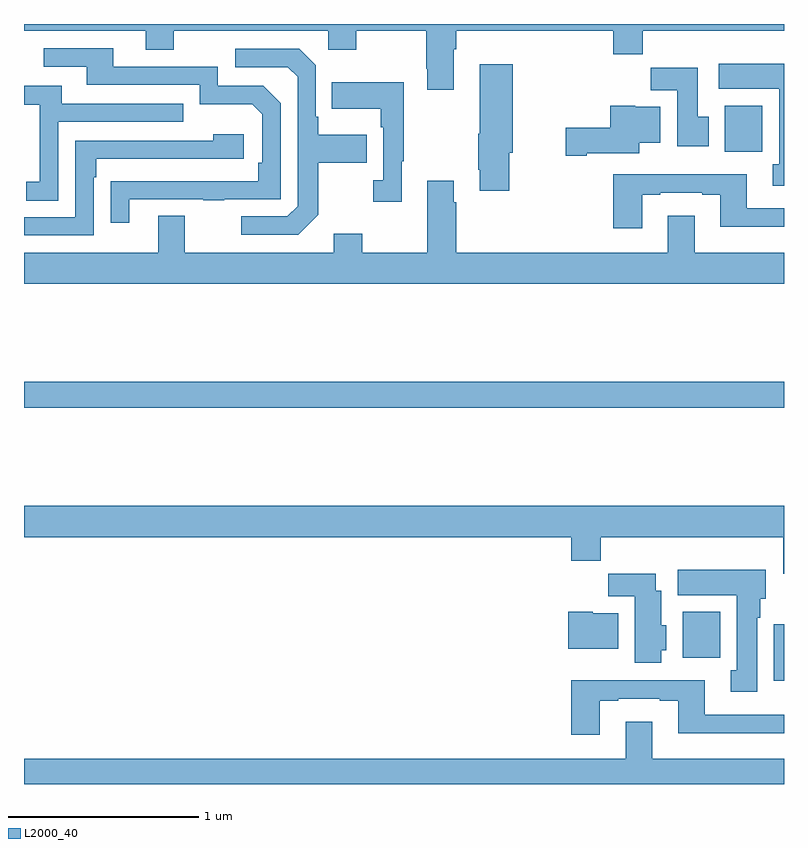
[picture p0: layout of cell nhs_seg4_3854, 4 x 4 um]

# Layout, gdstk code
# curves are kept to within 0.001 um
import gdstk
lib = gdstk.Library(unit=1e-6, precision=1e-09)
def R(c, l, rs):  # rectangles x0, y0, x1, y1
    for r in rs: c.add(gdstk.rectangle(r[:2], r[2:], *l))
def P(c, l, *ps):  # polygons
    for p in ps: c.add(gdstk.Polygon(p, *l))
L2000_40 = (2000, 40)

nhs_seg4_3854 = lib.new_cell('nhs_seg4_3854')
R(nhs_seg4_3854, L2000_40, [(318.947,749.444,319,749.74), (318.467,749.564,318.664,749.806), (315,750.88,319,751.016), (318.689,752.228,318.886,752.47)])
P(nhs_seg4_3854, L2000_40, [(317.263,752.768),(317.276,752.768),(317.276,752.864),(318.101,752.864),(318.101,752.74),(318.257,752.74),(318.257,752.864),(319,752.864),(319,752.9),(315,752.9),(315,752.864),(315.641,752.864),(315.641,752.765),(315.789,752.765),(315.789,752.864),(316.602,752.864),(316.602,752.765),(316.749,752.765),(316.749,752.864),(317.116,752.864),(317.116,752.665),(317.123,752.665),(317.123,752.553),(317.263,752.553)],
  [(315.553,751.977),(315.943,751.977),(315.943,751.972),(316.055,751.972),(316.055,751.977),(316.35,751.977),(316.35,752.484),(316.26,752.574),(316.02,752.574),(316.02,752.676),(315.469,752.676),(315.469,752.772),(315.105,752.772),(315.105,752.676),(315.329,752.676),(315.329,752.58),(315.924,752.58),(315.924,752.477),(316.201,752.477),(316.254,752.424),(316.254,752.17),(316.234,752.17),(316.234,752.073),(315.457,752.072),(315.457,751.854),(315.553,751.854)],
  [(316.549,751.897),(316.549,752.17),(316.805,752.17),(316.805,752.317),(316.549,752.317),(316.549,752.413),(316.536,752.413),(316.536,752.682),(316.449,752.769),(316.113,752.769),(316.113,752.673),(316.389,752.673),(316.44,752.622),(316.44,751.941),(316.386,751.887),(316.143,751.887),(316.143,751.791),(316.443,751.791)],
  [(319,752.692),(318.657,752.692),(318.657,752.558),(318.974,752.558),(318.974,752.162),(318.941,752.162),(318.941,752.049),(319,752.049)],
  [(317.554,752.223),(317.572,752.223),(317.572,752.689),(317.399,752.689),(317.399,752.323),(317.392,752.323),(317.392,752.134),(317.399,752.134),(317.399,752.022),(317.554,752.022)],
  [(318.604,752.412),(318.547,752.412),(318.547,752.671),(318.298,752.671),(318.298,752.552),(318.437,752.552),(318.437,752.256),(318.604,752.256)],
  [(316.987,752.177),(316.999,752.177),(316.999,752.593),(316.621,752.593),(316.621,752.453),(316.878,752.453),(316.878,752.357),(316.89,752.357),(316.89,752.078),(316.839,752.078),(316.839,751.965),(316.987,751.965)],
  [(315.18,752.385),(315.839,752.385),(315.839,752.481),(315.199,752.481),(315.199,752.575),(315,752.575),(315,752.475),(315.084,752.475),(315.084,752.07),(315.012,752.07),(315.012,751.969),(315.18,751.969)],
  [(317.962,752.219),(318.238,752.219),(318.238,752.276),(318.349,752.276),(318.349,752.464),(318.216,752.464),(318.216,752.47),(318.086,752.47),(318.086,752.354),(317.85,752.354),(317.85,752.207),(317.962,752.207)],
  [(315.366,752.093),(315.379,752.093),(315.379,752.19),(316.156,752.19),(316.156,752.32),(315.995,752.32),(315.995,752.286),(315.27,752.286),(315.27,751.884),(315,751.884),(315,751.788),(315.366,751.788)],
  [(318.253,752.001),(318.349,752.001),(318.349,752.013),(318.569,752.013),(318.569,752.001),(318.665,752.001),(318.665,751.832),(319,751.832),(319,751.929),(318.805,751.929),(318.805,752.11),(318.101,752.11),(318.101,751.824),(318.253,751.824)],
  [(319,751.696),(318.529,751.696),(318.529,751.891),(318.389,751.891),(318.389,751.696),(317.276,751.696),(317.276,751.961),(317.263,751.961),(317.263,752.074),(317.123,752.074),(317.123,751.696),(316.779,751.696),(316.779,751.795),(316.631,751.795),(316.631,751.696),(315.847,751.696),(315.847,751.891),(315.707,751.891),(315.707,751.696),(315,751.696),(315,751.532),(319,751.532)],
  [(319,750.364),(315,750.364),(315,750.2),(317.879,750.2),(317.879,750.076),(318.035,750.076),(318.035,750.2),(318.995,750.2),(318.995,750.006),(319,750.006)],
  [(318.859,749.774),(318.874,749.774),(318.874,749.874),(318.904,749.874),(318.904,750.028),(318.44,750.028),(318.44,749.894),(318.752,749.894),(318.752,749.498),(318.719,749.498),(318.719,749.385),(318.859,749.385)],
  [(318.355,749.604),(318.379,749.604),(318.379,749.736),(318.355,749.736),(318.355,749.917),(318.325,749.917),(318.325,750.007),(318.076,750.007),(318.076,749.888),(318.215,749.888),(318.215,749.537),(318.355,749.537)],
  [(318.127,749.8),(317.994,749.8),(317.994,749.806),(317.864,749.806),(317.864,749.612),(318.127,749.612)],
  [(318.031,749.337),(318.127,749.337),(318.127,749.349),(318.347,749.349),(318.347,749.337),(318.443,749.337),(318.443,749.168),(319,749.168),(319,749.265),(318.583,749.265),(318.583,749.445),(318.123,749.445),(318.123,749.446),(317.879,749.446),(317.879,749.16),(318.031,749.16)],
  [(319,749.032),(318.307,749.032),(318.307,749.227),(318.167,749.227),(318.167,749.032),(315,749.032),(315,748.9),(319,748.9)])

lib.write_gds('nhs_seg4_3854.gds')
